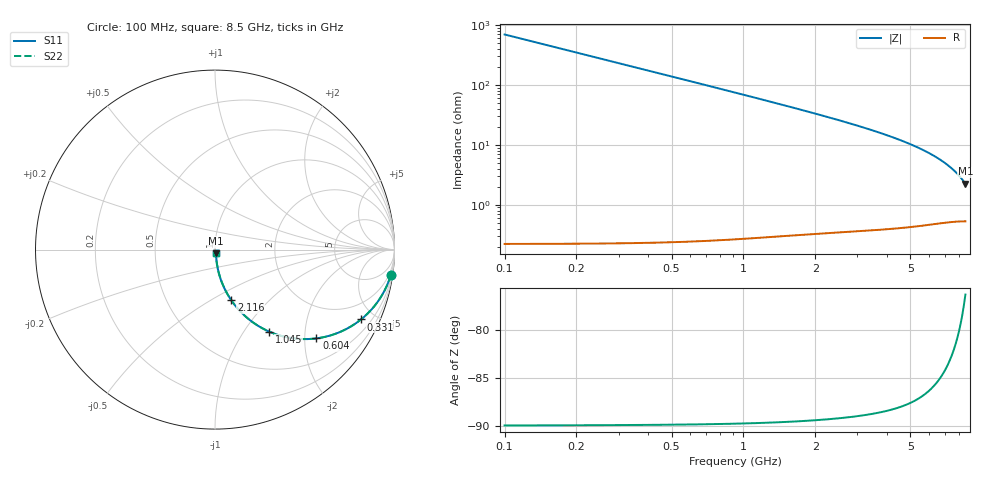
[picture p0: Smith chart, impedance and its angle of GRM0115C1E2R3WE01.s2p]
!Murata Part Number: GRM0115C1E2R3WE01
!These Parameters are Measured in Series Mode Connection
!Data Generated on Mar 30, 2021
!  o--ll--o
!Port1  Port2
!  o------o
!Operation Temp=25[degC], DC Bias Voltage=0[V]
!Freq. Start=100[MHz] Stop=9[GHz] 401[Steps]
# Hz S RI R 50
!Freq.(Hz) S11(Real) S11(Imag) S21(Real) S21(Imag) S12(Real) S12(Imag) S22(Real) S22(Imag)
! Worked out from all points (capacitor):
!   401 points, 100 MHz to 8.5 GHz, reference 50 ohm
!   read as one part in series: C = 2.3 pF near 142 MHz
!   lowest |Z| = 2.23 ohm at 8.5 GHz (marker M1)
!   S11 on the Smith chart (normalised r, x): 100 MHz: 1, -14; 331 MHz: 1.00, -4.18; 604 MHz: 1.00, -2.28; 1.045 GHz: 1.01, -1.31; 2.116 GHz: 1.01, -0.62; 8.5 GHz: 1.01, -0.04
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1e8  0.9795 -0.1416  0.0205 0.1416  0.0205 0.1416  0.9795 -0.1416
1.21e8  0.9703 -0.1697  0.0297 0.1697  0.0297 0.1697  0.9703 -0.1697
1.84e8  0.9338 -0.2484  0.0662 0.2484  0.0662 0.2484  0.9338 -0.2484
2.26e8  0.9033 -0.2951  0.0967 0.2951  0.0967 0.2951  0.9033 -0.2951
2.68e8  0.8692 -0.3368  0.1308 0.3368  0.1308 0.3368  0.8692 -0.3368
3.31e8  0.8131 -0.3893  0.1869 0.3893  0.1869 0.3893  0.8131 -0.3893
3.94e8  0.7542 -0.4299  0.2458 0.4299  0.2458 0.4299  0.7542 -0.4299
4.57e8  0.695 -0.4596  0.305 0.4596  0.305 0.4596  0.695 -0.4596
6.04e8  0.5654 -0.4946  0.4346 0.4946  0.4346 0.4946  0.5654 -0.4946
8.14e8  0.416 -0.4914  0.584 0.4914  0.584 0.4914  0.416 -0.4914
1.045e9  0.3003 -0.4563  0.6997 0.4563  0.6997 0.4563  0.3003 -0.4563
1.255e9  0.228 -0.4169  0.772 0.4169  0.772 0.4169  0.228 -0.4169
1.507e9  0.1686 -0.371  0.8314 0.371  0.8314 0.371  0.1686 -0.371
1.78e9  0.1255 -0.3271  0.8745 0.3271  0.8745 0.3271  0.1255 -0.3271
2.116e9  0.0907 -0.282  0.9093 0.282  0.9093 0.282  0.0907 -0.282
2.914e9  0.0477 -0.2049  0.9523 0.2049  0.9523 0.2049  0.0477 -0.2049
4.3e9  0.0203 -0.1265  0.9797 0.1265  0.9797 0.1265  0.0203 -0.1265
5.707e9  0.0108 -0.0789  0.9892 0.0789  0.9892 0.0789  0.0108 -0.0789
6.484e9  0.00837 -0.0595  0.9916 0.0595  0.9916 0.0595  0.00837 -0.0595
7.114e9  0.00716 -0.0461  0.9928 0.0461  0.9928 0.0461  0.00716 -0.0461
7.849e9  0.00626 -0.0323  0.9937 0.0323  0.9937 0.0323  0.00626 -0.0323
8.5e9  0.00572 -0.0215  0.9943 0.0215  0.9943 0.0215  0.00572 -0.0215
